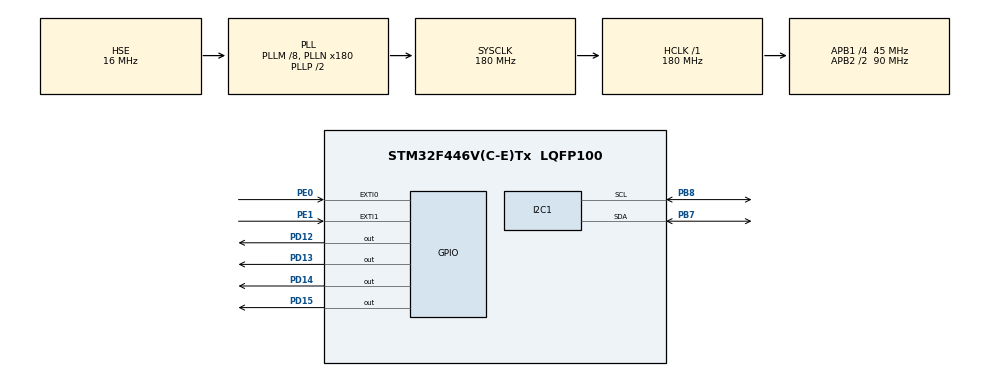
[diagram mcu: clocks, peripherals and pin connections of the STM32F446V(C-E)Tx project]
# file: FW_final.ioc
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Mcu.Family=STM32F4
Mcu.Name=STM32F446V(C-E)Tx
Mcu.Package=LQFP100
NVIC.EXTI0_IRQn=true\:0\:0\:false\:false\:true\:true\:true
NVIC.EXTI1_IRQn=true\:0\:0\:false\:false\:true\:true\:true
NVIC.I2C1_ER_IRQn=true\:0\:0\:false\:false\:true\:true\:true
NVIC.I2C1_EV_IRQn=true\:0\:0\:false\:false\:true\:true\:true
NVIC.PriorityGroup=NVIC_PRIORITYGROUP_4
PA13.Mode=Serial_Wire
PA13.Signal=SYS_JTMS-SWDIO
PA14.Mode=Serial_Wire
PA14.Signal=SYS_JTCK-SWCLK
PB7.Mode=I2C
PB7.Signal=I2C1_SDA
PB8.Mode=I2C
PB8.Signal=I2C1_SCL
PD12.Signal=GPIO_Output
PD13.Signal=GPIO_Output
PD14.Signal=GPIO_Output
PD15.Signal=GPIO_Output
PE0.Signal=GPXTI0
PE1.Signal=GPXTI1
PH0-OSC_IN.Mode=HSE-External-Oscillator
PH0-OSC_IN.Signal=RCC_OSC_IN
PH1-OSC_OUT.Mode=HSE-External-Oscillator
PH1-OSC_OUT.Signal=RCC_OSC_OUT
ProjectManager.HeapSize=0x200
ProjectManager.StackSize=0x400
ProjectManager.TargetToolchain=MDK-ARM V5.27
RCC.AHBFreq_Value=180000000
RCC.APB1CLKDivider=RCC_HCLK_DIV4
RCC.APB1Freq_Value=45000000
RCC.APB1TimFreq_Value=90000000
RCC.APB2CLKDivider=RCC_HCLK_DIV2
RCC.APB2Freq_Value=90000000
RCC.APB2TimFreq_Value=180000000
RCC.CortexFreq_Value=180000000
RCC.HCLKFreq_Value=180000000
RCC.HSE_VALUE=16000000
RCC.PLLM=8
RCC.PLLN=180
RCC.PLLSourceVirtual=RCC_PLLSOURCE_HSE
RCC.SYSCLKFreq_VALUE=180000000
RCC.SYSCLKSource=RCC_SYSCLKSOURCE_PLLCLK
RCC.USBFreq_Value=180000000
RCC.VCOOutputFreq_Value=360000000
board=custom

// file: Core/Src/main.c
/* USER CODE BEGIN Header */
/**
  ******************************************************************************
  * @file           : main.c
  * @brief          : Main program body
  ******************************************************************************
  * @attention
  *
  * <h2><center>&copy; Copyright (c) 2022 STMicroelectronics.
  * All rights reserved.</center></h2>
  *
  * This software component is licensed by ST under BSD 3-Clause license,
  * the "License"; You may not use this file except in compliance with the
  * License. You may obtain a copy of the License at:
  *                        opensource.org/licenses/BSD-3-Clause
  *
  ******************************************************************************
  */
/* USER CODE END Header */
#include "main.h"
#include "i2c.h"
#include "gpio.h"

/* USER CODE BEGIN Includes */
#include <string.h>
#include <stdio.h>
#include "lis2dh12_reg.h"
/* USER CODE END Includes */

/* USER CODE BEGIN PD */
#define SENSOR_BUS hi2c1
#define BOOT_TIME  5
/* USER CODE END PD */

/* USER CODE BEGIN PV */
static int16_t data_raw_acceleration[3];
static int16_t data_raw_temperature;
static float acceleration_mg[3];
static float temperature_degC;
static uint8_t whoamI;
static uint8_t tx_buffer[1000];
uint8_t check=0;
uint8_t stt[2];
/* USER CODE END PV */

void SystemClock_Config(void);
/* USER CODE BEGIN PFP */
static int32_t platform_write(void *handle, uint8_t reg, uint8_t *bufp, uint16_t len);
static int32_t platform_read(void *handle, uint8_t reg, uint8_t *bufp, uint16_t len);
//static void tx_com(uint8_t *tx_buffer, uint16_t len);
static void platform_delay(uint32_t ms);
static void platform_init(void);
/* USER CODE END PFP */

int main(void)
{

  /* MCU Configuration--------------------------------------------------------*/

  /* Reset of all peripherals, Initializes the Flash interface and the Systick. */
  HAL_Init();

  /* Configure the system clock */
  SystemClock_Config();

  /* Initialize all configured peripherals */
  MX_GPIO_Init();
  MX_I2C1_Init();
  /* USER CODE BEGIN 2 */
  stmdev_ctx_t dev_ctx;
  dev_ctx.write_reg = platform_write;
  dev_ctx.read_reg = platform_read;
  dev_ctx.handle = &SENSOR_BUS;
  /* Wait boot time and initialize platform specific hardware */
  platform_init();
  /* Wait sensor boot time */
  platform_delay(BOOT_TIME);
  /* Check device ID */
  lis2dh12_device_id_get(&dev_ctx, &whoamI);
	if (whoamI != LIS2DH12_ID) {
    while (1) {
			check=1;
			HAL_GPIO_WritePin(GPIOD, GPIO_PIN_12|GPIO_PIN_13, GPIO_PIN_SET);
      /* manage here device not found */
    }
  }
	  /* Enable Block Data Update. */
  lis2dh12_block_data_update_set(&dev_ctx, PROPERTY_ENABLE);
  /* Set Output Data Rate to 1Hz. */
  lis2dh12_data_rate_set(&dev_ctx, LIS2DH12_ODR_1Hz);
  /* Set full scale to 2g. */
  lis2dh12_full_scale_set(&dev_ctx, LIS2DH12_2g);
  /* Enable temperature sensor. */
  lis2dh12_temperature_meas_set(&dev_ctx, LIS2DH12_TEMP_ENABLE);
  /* Set device in continuous mode with 12 bit resol. */
  lis2dh12_operating_mode_set(&dev_ctx, LIS2DH12_HR_12bit);
  /* USER CODE END 2 */

  /* Infinite loop */
  /* USER CODE BEGIN WHILE */
  while (1)
  {

		lis2dh12_reg_t reg;
    /* Read output only if new value available */
    lis2dh12_xl_data_ready_get(&dev_ctx, &reg.byte);

    if (reg.byte) {
      /* Read accelerometer data */
			HAL_GPIO_WritePin(GPIOD, GPIO_PIN_12|GPIO_PIN_13|GPIO_PIN_14|GPIO_PIN_15, GPIO_PIN_SET);
      memset(data_raw_acceleration, 0x00, 3 * sizeof(int16_t));
      lis2dh12_acceleration_raw_get(&dev_ctx, data_raw_acceleration);
      acceleration_mg[0] = lis2dh12_from_fs2_hr_to_mg(data_raw_acceleration[0]);
      acceleration_mg[1] = lis2dh12_from_fs2_hr_to_mg(data_raw_acceleration[1]);
      acceleration_mg[2] = lis2dh12_from_fs2_hr_to_mg(data_raw_acceleration[2]);
    }
    /* USER CODE END WHILE */

  }
}

void SystemClock_Config(void)
{
  RCC_OscInitTypeDef RCC_OscInitStruct = {0};
  RCC_ClkInitTypeDef RCC_ClkInitStruct = {0};

  /** Configure the main internal regulator output voltage
  */
  __HAL_RCC_PWR_CLK_ENABLE();
  __HAL_PWR_VOLTAGESCALING_CONFIG(PWR_REGULATOR_VOLTAGE_SCALE1);
  /** Initializes the RCC Oscillators according to the specified parameters
  * in the RCC_OscInitTypeDef structure.
  */
  RCC_OscInitStruct.OscillatorType = RCC_OSCILLATORTYPE_HSE;
  RCC_OscInitStruct.HSEState = RCC_HSE_ON;
  RCC_OscInitStruct.PLL.PLLState = RCC_PLL_ON;
  RCC_OscInitStruct.PLL.PLLSource = RCC_PLLSOURCE_HSE;
  RCC_OscInitStruct.PLL.PLLM = 8;
  RCC_OscInitStruct.PLL.PLLN = 180;
  RCC_OscInitStruct.PLL.PLLP = RCC_PLLP_DIV2;
  RCC_OscInitStruct.PLL.PLLQ = 2;
  RCC_OscInitStruct.PLL.PLLR = 2;
  if (HAL_RCC_OscConfig(&RCC_OscInitStruct) != HAL_OK)
  {
    Error_Handler();
  }
  /** Activate the Over-Drive mode
  */
  if (HAL_PWREx_EnableOverDrive() != HAL_OK)
  {
    Error_Handler();
  }
  /** Initializes the CPU, AHB and APB buses clocks
  */
  RCC_ClkInitStruct.ClockType = RCC_CLOCKTYPE_HCLK|RCC_CLOCKTYPE_SYSCLK
                              |RCC_CLOCKTYPE_PCLK1|RCC_CLOCKTYPE_PCLK2;
  RCC_ClkInitStruct.SYSCLKSource = RCC_SYSCLKSOURCE_PLLCLK;
  RCC_ClkInitStruct.AHBCLKDivider = RCC_SYSCLK_DIV1;
  RCC_ClkInitStruct.APB1CLKDivider = RCC_HCLK_DIV4;
  RCC_ClkInitStruct.APB2CLKDivider = RCC_HCLK_DIV2;

  if (HAL_RCC_ClockConfig(&RCC_ClkInitStruct, FLASH_LATENCY_5) != HAL_OK)
  {
    Error_Handler();
  }
}

/* USER CODE BEGIN 4 */

static int32_t platform_write(void *handle, uint8_t reg, uint8_t *bufp, uint16_t len)
{
  /* Write multiple command */
  reg |= 0x80;
  HAL_I2C_Mem_Write(handle, LIS2DH12_I2C_ADD_L, reg, I2C_MEMADD_SIZE_8BIT, bufp, len, 1000);
  return 0;
}

/*
 * @brief  Read generic device register (platform dependent)
 *
 * @param  handle    customizable argument. In this examples is used in
 *                   order to select the correct sensor bus handler.
 * @param  reg       register to read
 * @param  bufp      pointer to buffer that store the data read
 * @param  len       number of consecutive register to read
 *
 */
static int32_t platform_read(void *handle, uint8_t reg, uint8_t *bufp, uint16_t len)
{
  /* Read multiple command */
  reg |= 0x80;
  HAL_I2C_Mem_Read(handle, LIS2DH12_I2C_ADD_L, reg, I2C_MEMADD_SIZE_8BIT, bufp, len, 1000);
  return 0;
}

/*
 * @brief  Send buffer to console (platform dependent)
 *
 * @param  tx_buffer     buffer to transmit
 * @param  len           number of byte to send
 *
 */
/*
static void tx_com(uint8_t *tx_buffer, uint16_t len)
{
#if defined(NUCLEO_F411RE)
  HAL_UART_Transmit(&huart2, tx_buffer, len, 1000);
#elif defined(STEVAL_MKI109V3)
  CDC_Transmit_FS(tx_buffer, len);
#elif defined(SPC584B_DIS)
  sd_lld_write(&SD2, tx_buffer, len);
#endif
}
*/
/*
 * @brief  platform specific delay (platform dependent)
 *
 * @param  ms        delay in ms
 *
 */
static void platform_delay(uint32_t ms)
{
  HAL_Delay(ms);
}

/*
 * @brief  platform specific initialization (platform dependent)
 */
static void platform_init(void)
{
#if defined(STEVAL_MKI109V3)
  TIM3->CCR1 = PWM_3V3;
  TIM3->CCR2 = PWM_3V3;
  HAL_TIM_PWM_Start(&htim3, TIM_CHANNEL_1);
  HAL_TIM_PWM_Start(&htim3, TIM_CHANNEL_2);
  HAL_Delay(1000);
#endif
}
/* USER CODE END 4 */

void Error_Handler(void)
{
  __disable_irq();
  while (1)
  {
  }
}

/************************ (C) COPYRIGHT STMicroelectronics *****END OF FILE****/
